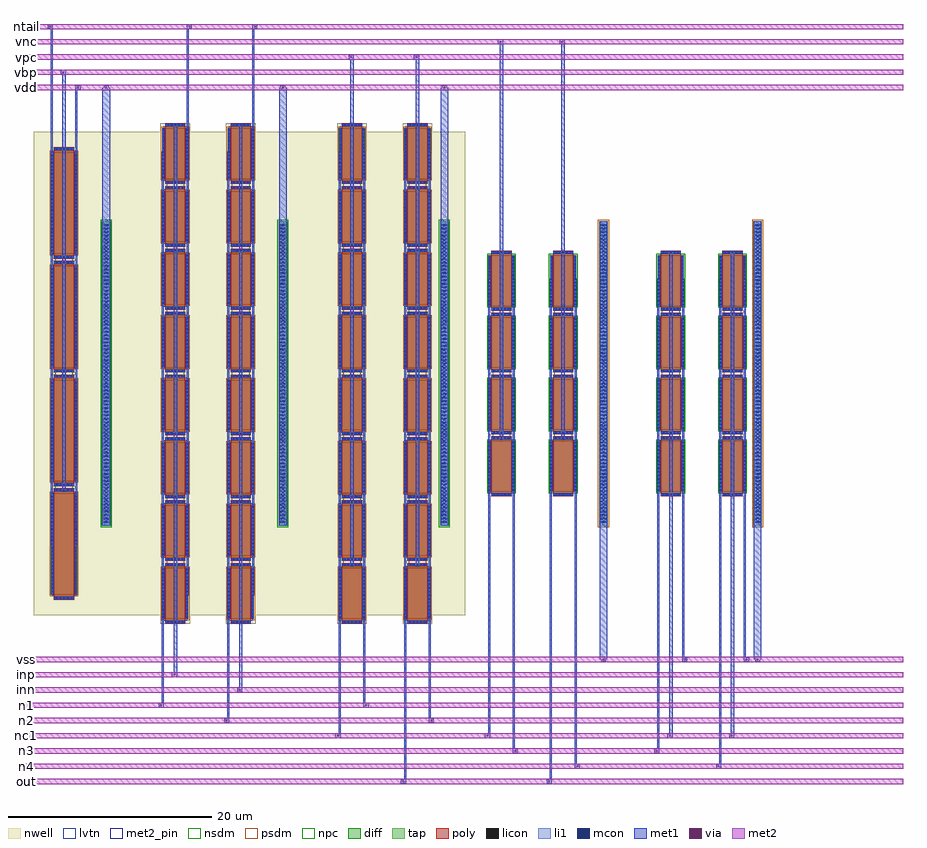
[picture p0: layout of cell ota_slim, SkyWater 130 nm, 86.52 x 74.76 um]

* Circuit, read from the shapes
.subckt ota_slim inn inp n1 n2 n3 n4 nc1 ntail out vbp vdd vnc vpc vss
XM1 n3 vnc nc1 vss sky130_fd_pr__nfet_01v8 w=5 l=2 m=4
XM2 n4 vnc out vss sky130_fd_pr__nfet_01v8 w=5 l=2 m=4
XM3 vss nc1 n3 vss sky130_fd_pr__nfet_01v8 w=5 l=2 m=4
XM4 vss nc1 n4 vss sky130_fd_pr__nfet_01v8 w=5 l=2 m=4
XM5 vdd vbp ntail vdd sky130_fd_pr__pfet_01v8 w=10 l=2 m=4
XM6 ntail inp n1 vdd sky130_fd_pr__pfet_01v8_lvt w=5 l=2 m=8
XM7 ntail inn n2 vdd sky130_fd_pr__pfet_01v8_lvt w=5 l=2 m=8
XM8 n1 vpc nc1 vdd sky130_fd_pr__pfet_01v8_lvt w=5 l=2 m=8
XM9 n2 vpc out vdd sky130_fd_pr__pfet_01v8_lvt w=5 l=2 m=8
.ends

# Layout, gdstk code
import gdstk
lib = gdstk.Library(unit=1e-6, precision=1e-09)
def R(c, l, rs):  # rectangles x0, y0, x1, y1
    for r in rs: c.add(gdstk.rectangle(r[:2], r[2:], *l))
def A(c, l, x, y, w, h, nx, ny, dx, dy):  # array of equal rectangles
    R(c, l, [(x+i*dx, y+j*dy, x+i*dx+w, y+j*dy+h) for i in range(nx) for j in range(ny)])
nwell = (64, 20)
diff = (65, 20)
tap = (65, 44)
poly = (66, 20)
licon = (66, 44)
li1 = (67, 20)
mcon = (67, 44)
met1 = (68, 20)
via = (68, 44)
met2_pin = (69, 16)
met2 = (69, 20)
nsdm = (93, 44)
psdm = (94, 20)
npc = (95, 20)
lvtn = (125, 44)

sky130_fd_pr__pfet_01v8_ = lib.new_cell('sky130_fd_pr__pfet_01v8_WWVFXU')
A(sky130_fd_pr__pfet_01v8_, nwell, -1.47, -22.27, 2.94, 11, 1, 4, 0, 11.18)
A(sky130_fd_pr__pfet_01v8_, diff, -1.29, -21.77, 2.58, 10, 1, 4, 0, 11.18)
A(sky130_fd_pr__pfet_01v8_, poly, -1, -22.255, 2, 10.97, 1, 4, 0, 11.18)
A(sky130_fd_pr__pfet_01v8_, licon, -0.765, -22.175, 0.17, 0.17, 5, 2, 0.34, 10.64)
A(sky130_fd_pr__pfet_01v8_, licon, -1.23, -21.615, 0.17, 0.17, 1, 29, 0, 0.34)
A(sky130_fd_pr__pfet_01v8_, licon, 1.06, -21.615, 0.17, 0.17, 1, 29, 0, 0.34)
A(sky130_fd_pr__pfet_01v8_, licon, -0.765, -10.995, 0.17, 0.17, 5, 2, 0.34, 10.64)
A(sky130_fd_pr__pfet_01v8_, licon, -1.23, -10.435, 0.17, 0.17, 1, 29, 0, 0.34)
A(sky130_fd_pr__pfet_01v8_, licon, 1.06, -10.435, 0.17, 0.17, 1, 29, 0, 0.34)
A(sky130_fd_pr__pfet_01v8_, licon, -0.765, 0.185, 0.17, 0.17, 5, 2, 0.34, 10.64)
A(sky130_fd_pr__pfet_01v8_, licon, -1.23, 0.745, 0.17, 0.17, 1, 29, 0, 0.34)
A(sky130_fd_pr__pfet_01v8_, licon, 1.06, 0.745, 0.17, 0.17, 1, 29, 0, 0.34)
A(sky130_fd_pr__pfet_01v8_, licon, -0.765, 11.365, 0.17, 0.17, 5, 2, 0.34, 10.64)
A(sky130_fd_pr__pfet_01v8_, licon, -1.23, 11.925, 0.17, 0.17, 1, 29, 0, 0.34)
A(sky130_fd_pr__pfet_01v8_, licon, 1.06, 11.925, 0.17, 0.17, 1, 29, 0, 0.34)
A(sky130_fd_pr__pfet_01v8_, li1, -1.23, -21.79, 0.17, 10.04, 1, 4, 0, 11.18)
A(sky130_fd_pr__pfet_01v8_, li1, 1.06, -21.79, 0.17, 10.04, 1, 4, 0, 11.18)
R(sky130_fd_pr__pfet_01v8_, li1, [(-1,-22.175,1,-22.005), (-1,-11.535,1,-11.365), (-1,-10.995,1,-10.825), (-1,-0.355,1,-0.185), (-1,0.185,1,0.355), (-1,10.825,1,10.995), (-1,11.365,1,11.535), (-1,22.005,1,22.175)])
A(sky130_fd_pr__pfet_01v8_, mcon, -0.805, -22.175, 0.17, 0.17, 5, 2, 0.36, 10.64)
A(sky130_fd_pr__pfet_01v8_, mcon, -1.23, -21.535, 0.17, 0.17, 1, 27, 0, 0.36)
A(sky130_fd_pr__pfet_01v8_, mcon, 1.06, -21.535, 0.17, 0.17, 1, 27, 0, 0.36)
A(sky130_fd_pr__pfet_01v8_, mcon, -0.805, -10.995, 0.17, 0.17, 5, 2, 0.36, 10.64)
A(sky130_fd_pr__pfet_01v8_, mcon, -1.23, -10.355, 0.17, 0.17, 1, 27, 0, 0.36)
A(sky130_fd_pr__pfet_01v8_, mcon, 1.06, -10.355, 0.17, 0.17, 1, 27, 0, 0.36)
A(sky130_fd_pr__pfet_01v8_, mcon, -0.805, 0.185, 0.17, 0.17, 5, 2, 0.36, 10.64)
A(sky130_fd_pr__pfet_01v8_, mcon, -1.23, 0.825, 0.17, 0.17, 1, 27, 0, 0.36)
A(sky130_fd_pr__pfet_01v8_, mcon, 1.06, 0.825, 0.17, 0.17, 1, 27, 0, 0.36)
A(sky130_fd_pr__pfet_01v8_, mcon, -0.805, 11.365, 0.17, 0.17, 5, 2, 0.36, 10.64)
A(sky130_fd_pr__pfet_01v8_, mcon, -1.23, 12.005, 0.17, 0.17, 1, 27, 0, 0.36)
A(sky130_fd_pr__pfet_01v8_, mcon, 1.06, 12.005, 0.17, 0.17, 1, 27, 0, 0.36)
A(sky130_fd_pr__pfet_01v8_, met1, -1.26, -21.77, 0.23, 10, 1, 4, 0, 11.18)
A(sky130_fd_pr__pfet_01v8_, met1, 1.03, -21.77, 0.23, 10, 1, 4, 0, 11.18)
R(sky130_fd_pr__pfet_01v8_, met1, [(-0.98,-22.205,0.98,-21.975), (-0.98,-11.565,0.98,-11.335), (-0.98,-11.025,0.98,-10.795), (-0.98,-0.385,0.98,-0.155), (-0.98,0.155,0.98,0.385), (-0.98,10.795,0.98,11.025), (-0.98,11.335,0.98,11.565), (-0.98,21.975,0.98,22.205)])
A(sky130_fd_pr__pfet_01v8_, psdm, -1.415, -21.895, 2.83, 10.25, 1, 4, 0, 11.18)
A(sky130_fd_pr__pfet_01v8_, npc, -0.865, -11.635, 1.73, 0.91, 1, 3, 0, 11.18)
R(sky130_fd_pr__pfet_01v8_, npc, [(-0.865,-22.275,0.865,-21.905), (-0.865,21.905,0.865,22.275)])
sky130_fd_pr__pfet_01v8_.add(gdstk.Label('D0', (-1.145,-16.77), layer=67, texttype=5))
sky130_fd_pr__pfet_01v8_.add(gdstk.Label('S0', (1.145,-16.77), layer=67, texttype=5))
sky130_fd_pr__pfet_01v8_.add(gdstk.Label('G0', (0,-11.45), layer=67, texttype=5))
sky130_fd_pr__pfet_01v8_.add(gdstk.Label('D1', (-1.145,-5.59), layer=67, texttype=5))
sky130_fd_pr__pfet_01v8_.add(gdstk.Label('S1', (1.145,-5.59), layer=67, texttype=5))
sky130_fd_pr__pfet_01v8_.add(gdstk.Label('G1', (0,-0.27), layer=67, texttype=5))
sky130_fd_pr__pfet_01v8_.add(gdstk.Label('D2', (-1.145,5.59), layer=67, texttype=5))
sky130_fd_pr__pfet_01v8_.add(gdstk.Label('S2', (1.145,5.59), layer=67, texttype=5))
sky130_fd_pr__pfet_01v8_.add(gdstk.Label('G2', (0,10.91), layer=67, texttype=5))
sky130_fd_pr__pfet_01v8_.add(gdstk.Label('D3', (-1.145,16.77), layer=67, texttype=5))
sky130_fd_pr__pfet_01v8_.add(gdstk.Label('S3', (1.145,16.77), layer=67, texttype=5))
sky130_fd_pr__pfet_01v8_.add(gdstk.Label('G3', (0,22.09), layer=67, texttype=5))

c_sky130_fd_pr__pfet_01v8_ = lib.new_cell('sky130_fd_pr__pfet_01v8_lvt_Z3Z8Z3')
A(c_sky130_fd_pr__pfet_01v8_, nwell, -1.47, -24.63, 2.94, 6, 1, 8, 0, 6.18)
A(c_sky130_fd_pr__pfet_01v8_, diff, -1.29, -24.13, 2.58, 5, 1, 8, 0, 6.18)
A(c_sky130_fd_pr__pfet_01v8_, poly, -1, -24.615, 2, 5.97, 1, 8, 0, 6.18)
A(c_sky130_fd_pr__pfet_01v8_, licon, -0.765, -24.535, 0.17, 0.17, 5, 2, 0.34, 5.64)
A(c_sky130_fd_pr__pfet_01v8_, licon, -1.23, -23.925, 0.17, 0.17, 1, 14, 0, 0.34)
A(c_sky130_fd_pr__pfet_01v8_, licon, 1.06, -23.925, 0.17, 0.17, 1, 14, 0, 0.34)
A(c_sky130_fd_pr__pfet_01v8_, licon, -0.765, -18.355, 0.17, 0.17, 5, 2, 0.34, 5.64)
A(c_sky130_fd_pr__pfet_01v8_, licon, -1.23, -17.745, 0.17, 0.17, 1, 14, 0, 0.34)
A(c_sky130_fd_pr__pfet_01v8_, licon, 1.06, -17.745, 0.17, 0.17, 1, 14, 0, 0.34)
A(c_sky130_fd_pr__pfet_01v8_, licon, -0.765, -12.175, 0.17, 0.17, 5, 2, 0.34, 5.64)
A(c_sky130_fd_pr__pfet_01v8_, licon, -1.23, -11.565, 0.17, 0.17, 1, 14, 0, 0.34)
A(c_sky130_fd_pr__pfet_01v8_, licon, 1.06, -11.565, 0.17, 0.17, 1, 14, 0, 0.34)
A(c_sky130_fd_pr__pfet_01v8_, licon, -0.765, -5.995, 0.17, 0.17, 5, 2, 0.34, 5.64)
A(c_sky130_fd_pr__pfet_01v8_, licon, -1.23, -5.385, 0.17, 0.17, 1, 14, 0, 0.34)
A(c_sky130_fd_pr__pfet_01v8_, licon, 1.06, -5.385, 0.17, 0.17, 1, 14, 0, 0.34)
A(c_sky130_fd_pr__pfet_01v8_, licon, -0.765, 0.185, 0.17, 0.17, 5, 2, 0.34, 5.64)
A(c_sky130_fd_pr__pfet_01v8_, licon, -1.23, 0.795, 0.17, 0.17, 1, 14, 0, 0.34)
A(c_sky130_fd_pr__pfet_01v8_, licon, 1.06, 0.795, 0.17, 0.17, 1, 14, 0, 0.34)
A(c_sky130_fd_pr__pfet_01v8_, licon, -0.765, 6.365, 0.17, 0.17, 5, 2, 0.34, 5.64)
A(c_sky130_fd_pr__pfet_01v8_, licon, -1.23, 6.975, 0.17, 0.17, 1, 14, 0, 0.34)
A(c_sky130_fd_pr__pfet_01v8_, licon, 1.06, 6.975, 0.17, 0.17, 1, 14, 0, 0.34)
A(c_sky130_fd_pr__pfet_01v8_, licon, -0.765, 12.545, 0.17, 0.17, 5, 2, 0.34, 5.64)
A(c_sky130_fd_pr__pfet_01v8_, licon, -1.23, 13.155, 0.17, 0.17, 1, 14, 0, 0.34)
A(c_sky130_fd_pr__pfet_01v8_, licon, 1.06, 13.155, 0.17, 0.17, 1, 14, 0, 0.34)
A(c_sky130_fd_pr__pfet_01v8_, licon, -0.765, 18.725, 0.17, 0.17, 5, 2, 0.34, 5.64)
A(c_sky130_fd_pr__pfet_01v8_, licon, -1.23, 19.335, 0.17, 0.17, 1, 14, 0, 0.34)
A(c_sky130_fd_pr__pfet_01v8_, licon, 1.06, 19.335, 0.17, 0.17, 1, 14, 0, 0.34)
A(c_sky130_fd_pr__pfet_01v8_, li1, -1.23, -24.15, 0.17, 5.04, 1, 8, 0, 6.18)
A(c_sky130_fd_pr__pfet_01v8_, li1, 1.06, -24.15, 0.17, 5.04, 1, 8, 0, 6.18)
R(c_sky130_fd_pr__pfet_01v8_, li1, [(-1,-24.535,1,-24.365), (-1,-18.895,1,-18.725), (-1,-18.355,1,-18.185), (-1,-12.715,1,-12.545), (-1,-12.175,1,-12.005), (-1,-6.535,1,-6.365), (-1,-5.995,1,-5.825), (-1,-0.355,1,-0.185), (-1,0.185,1,0.355), (-1,5.825,1,5.995), (-1,6.365,1,6.535), (-1,12.005,1,12.175), (-1,12.545,1,12.715), (-1,18.185,1,18.355), (-1,18.725,1,18.895), (-1,24.365,1,24.535)])
A(c_sky130_fd_pr__pfet_01v8_, mcon, -0.805, -24.535, 0.17, 0.17, 5, 2, 0.36, 5.64)
A(c_sky130_fd_pr__pfet_01v8_, mcon, -1.23, -24.055, 0.17, 0.17, 1, 14, 0, 0.36)
A(c_sky130_fd_pr__pfet_01v8_, mcon, 1.06, -24.055, 0.17, 0.17, 1, 14, 0, 0.36)
A(c_sky130_fd_pr__pfet_01v8_, mcon, -0.805, -18.355, 0.17, 0.17, 5, 2, 0.36, 5.64)
A(c_sky130_fd_pr__pfet_01v8_, mcon, -1.23, -17.875, 0.17, 0.17, 1, 14, 0, 0.36)
A(c_sky130_fd_pr__pfet_01v8_, mcon, 1.06, -17.875, 0.17, 0.17, 1, 14, 0, 0.36)
A(c_sky130_fd_pr__pfet_01v8_, mcon, -0.805, -12.175, 0.17, 0.17, 5, 2, 0.36, 5.64)
A(c_sky130_fd_pr__pfet_01v8_, mcon, -1.23, -11.695, 0.17, 0.17, 1, 14, 0, 0.36)
A(c_sky130_fd_pr__pfet_01v8_, mcon, 1.06, -11.695, 0.17, 0.17, 1, 14, 0, 0.36)
A(c_sky130_fd_pr__pfet_01v8_, mcon, -0.805, -5.995, 0.17, 0.17, 5, 2, 0.36, 5.64)
A(c_sky130_fd_pr__pfet_01v8_, mcon, -1.23, -5.515, 0.17, 0.17, 1, 14, 0, 0.36)
A(c_sky130_fd_pr__pfet_01v8_, mcon, 1.06, -5.515, 0.17, 0.17, 1, 14, 0, 0.36)
A(c_sky130_fd_pr__pfet_01v8_, mcon, -0.805, 0.185, 0.17, 0.17, 5, 2, 0.36, 5.64)
A(c_sky130_fd_pr__pfet_01v8_, mcon, -1.23, 0.665, 0.17, 0.17, 1, 14, 0, 0.36)
A(c_sky130_fd_pr__pfet_01v8_, mcon, 1.06, 0.665, 0.17, 0.17, 1, 14, 0, 0.36)
A(c_sky130_fd_pr__pfet_01v8_, mcon, -0.805, 6.365, 0.17, 0.17, 5, 2, 0.36, 5.64)
A(c_sky130_fd_pr__pfet_01v8_, mcon, -1.23, 6.845, 0.17, 0.17, 1, 14, 0, 0.36)
A(c_sky130_fd_pr__pfet_01v8_, mcon, 1.06, 6.845, 0.17, 0.17, 1, 14, 0, 0.36)
A(c_sky130_fd_pr__pfet_01v8_, mcon, -0.805, 12.545, 0.17, 0.17, 5, 2, 0.36, 5.64)
A(c_sky130_fd_pr__pfet_01v8_, mcon, -1.23, 13.025, 0.17, 0.17, 1, 14, 0, 0.36)
A(c_sky130_fd_pr__pfet_01v8_, mcon, 1.06, 13.025, 0.17, 0.17, 1, 14, 0, 0.36)
A(c_sky130_fd_pr__pfet_01v8_, mcon, -0.805, 18.725, 0.17, 0.17, 5, 2, 0.36, 5.64)
A(c_sky130_fd_pr__pfet_01v8_, mcon, -1.23, 19.205, 0.17, 0.17, 1, 14, 0, 0.36)
A(c_sky130_fd_pr__pfet_01v8_, mcon, 1.06, 19.205, 0.17, 0.17, 1, 14, 0, 0.36)
A(c_sky130_fd_pr__pfet_01v8_, met1, -1.26, -24.13, 0.23, 5, 1, 8, 0, 6.18)
A(c_sky130_fd_pr__pfet_01v8_, met1, 1.03, -24.13, 0.23, 5, 1, 8, 0, 6.18)
R(c_sky130_fd_pr__pfet_01v8_, met1, [(-0.98,-24.565,0.98,-24.335), (-0.98,-18.925,0.98,-18.695), (-0.98,-18.385,0.98,-18.155), (-0.98,-12.745,0.98,-12.515), (-0.98,-12.205,0.98,-11.975), (-0.98,-6.565,0.98,-6.335), (-0.98,-6.025,0.98,-5.795), (-0.98,-0.385,0.98,-0.155), (-0.98,0.155,0.98,0.385), (-0.98,5.795,0.98,6.025), (-0.98,6.335,0.98,6.565), (-0.98,11.975,0.98,12.205), (-0.98,12.515,0.98,12.745), (-0.98,18.155,0.98,18.385), (-0.98,18.695,0.98,18.925), (-0.98,24.335,0.98,24.565)])
A(c_sky130_fd_pr__pfet_01v8_, psdm, -1.415, -24.255, 2.83, 5.25, 1, 8, 0, 6.18)
A(c_sky130_fd_pr__pfet_01v8_, npc, -0.865, -18.995, 1.73, 0.91, 1, 7, 0, 6.18)
R(c_sky130_fd_pr__pfet_01v8_, npc, [(-0.865,-24.635,0.865,-24.265), (-0.865,24.265,0.865,24.635)])
A(c_sky130_fd_pr__pfet_01v8_, lvtn, -1.18, -24.31, 2.36, 5.36, 1, 8, 0, 6.18)
c_sky130_fd_pr__pfet_01v8_.add(gdstk.Label('D0', (-1.145,-21.63), layer=67, texttype=5))
c_sky130_fd_pr__pfet_01v8_.add(gdstk.Label('S0', (1.145,-21.63), layer=67, texttype=5))
c_sky130_fd_pr__pfet_01v8_.add(gdstk.Label('G0', (0,-18.81), layer=67, texttype=5))
c_sky130_fd_pr__pfet_01v8_.add(gdstk.Label('D1', (-1.145,-15.45), layer=67, texttype=5))
c_sky130_fd_pr__pfet_01v8_.add(gdstk.Label('S1', (1.145,-15.45), layer=67, texttype=5))
c_sky130_fd_pr__pfet_01v8_.add(gdstk.Label('G1', (0,-12.63), layer=67, texttype=5))
c_sky130_fd_pr__pfet_01v8_.add(gdstk.Label('D2', (-1.145,-9.27), layer=67, texttype=5))
c_sky130_fd_pr__pfet_01v8_.add(gdstk.Label('S2', (1.145,-9.27), layer=67, texttype=5))
c_sky130_fd_pr__pfet_01v8_.add(gdstk.Label('G2', (0,-6.45), layer=67, texttype=5))
c_sky130_fd_pr__pfet_01v8_.add(gdstk.Label('D3', (-1.145,-3.09), layer=67, texttype=5))
c_sky130_fd_pr__pfet_01v8_.add(gdstk.Label('S3', (1.145,-3.09), layer=67, texttype=5))
c_sky130_fd_pr__pfet_01v8_.add(gdstk.Label('G3', (0,-0.27), layer=67, texttype=5))
c_sky130_fd_pr__pfet_01v8_.add(gdstk.Label('D4', (-1.145,3.09), layer=67, texttype=5))
c_sky130_fd_pr__pfet_01v8_.add(gdstk.Label('S4', (1.145,3.09), layer=67, texttype=5))
c_sky130_fd_pr__pfet_01v8_.add(gdstk.Label('G4', (0,5.91), layer=67, texttype=5))
c_sky130_fd_pr__pfet_01v8_.add(gdstk.Label('D5', (-1.145,9.27), layer=67, texttype=5))
c_sky130_fd_pr__pfet_01v8_.add(gdstk.Label('S5', (1.145,9.27), layer=67, texttype=5))
c_sky130_fd_pr__pfet_01v8_.add(gdstk.Label('G5', (0,12.09), layer=67, texttype=5))
c_sky130_fd_pr__pfet_01v8_.add(gdstk.Label('D6', (-1.145,15.45), layer=67, texttype=5))
c_sky130_fd_pr__pfet_01v8_.add(gdstk.Label('S6', (1.145,15.45), layer=67, texttype=5))
c_sky130_fd_pr__pfet_01v8_.add(gdstk.Label('G6', (0,18.27), layer=67, texttype=5))
c_sky130_fd_pr__pfet_01v8_.add(gdstk.Label('D7', (-1.145,21.63), layer=67, texttype=5))
c_sky130_fd_pr__pfet_01v8_.add(gdstk.Label('S7', (1.145,21.63), layer=67, texttype=5))
c_sky130_fd_pr__pfet_01v8_.add(gdstk.Label('G7', (0,24.45), layer=67, texttype=5))

sky130_fd_pr__nfet_01v8_ = lib.new_cell('sky130_fd_pr__nfet_01v8_NRZ4Y2')
A(sky130_fd_pr__nfet_01v8_, diff, -1.29, -11.635, 2.58, 5, 1, 4, 0, 6.09)
A(sky130_fd_pr__nfet_01v8_, poly, -1, -12.075, 2, 5.88, 1, 4, 0, 6.09)
A(sky130_fd_pr__nfet_01v8_, licon, -0.765, -11.995, 0.17, 0.17, 5, 2, 0.34, 5.55)
A(sky130_fd_pr__nfet_01v8_, licon, -1.23, -11.43, 0.17, 0.17, 1, 14, 0, 0.34)
A(sky130_fd_pr__nfet_01v8_, licon, 1.06, -11.43, 0.17, 0.17, 1, 14, 0, 0.34)
A(sky130_fd_pr__nfet_01v8_, licon, -0.765, -5.905, 0.17, 0.17, 5, 2, 0.34, 5.55)
A(sky130_fd_pr__nfet_01v8_, licon, -1.23, -5.34, 0.17, 0.17, 1, 14, 0, 0.34)
A(sky130_fd_pr__nfet_01v8_, licon, 1.06, -5.34, 0.17, 0.17, 1, 14, 0, 0.34)
A(sky130_fd_pr__nfet_01v8_, licon, -0.765, 0.185, 0.17, 0.17, 5, 2, 0.34, 5.55)
A(sky130_fd_pr__nfet_01v8_, licon, -1.23, 0.75, 0.17, 0.17, 1, 14, 0, 0.34)
A(sky130_fd_pr__nfet_01v8_, licon, 1.06, 0.75, 0.17, 0.17, 1, 14, 0, 0.34)
A(sky130_fd_pr__nfet_01v8_, licon, -0.765, 6.275, 0.17, 0.17, 5, 2, 0.34, 5.55)
A(sky130_fd_pr__nfet_01v8_, licon, -1.23, 6.84, 0.17, 0.17, 1, 14, 0, 0.34)
A(sky130_fd_pr__nfet_01v8_, licon, 1.06, 6.84, 0.17, 0.17, 1, 14, 0, 0.34)
A(sky130_fd_pr__nfet_01v8_, li1, -1.23, -11.655, 0.17, 5.04, 1, 4, 0, 6.09)
A(sky130_fd_pr__nfet_01v8_, li1, 1.06, -11.655, 0.17, 5.04, 1, 4, 0, 6.09)
R(sky130_fd_pr__nfet_01v8_, li1, [(-1,-11.995,1,-11.825), (-1,-6.445,1,-6.275), (-1,-5.905,1,-5.735), (-1,-0.355,1,-0.185), (-1,0.185,1,0.355), (-1,5.735,1,5.905), (-1,6.275,1,6.445), (-1,11.825,1,11.995)])
A(sky130_fd_pr__nfet_01v8_, mcon, -0.805, -11.995, 0.17, 0.17, 5, 2, 0.36, 5.55)
A(sky130_fd_pr__nfet_01v8_, mcon, -1.23, -11.56, 0.17, 0.17, 1, 14, 0, 0.36)
A(sky130_fd_pr__nfet_01v8_, mcon, 1.06, -11.56, 0.17, 0.17, 1, 14, 0, 0.36)
A(sky130_fd_pr__nfet_01v8_, mcon, -0.805, -5.905, 0.17, 0.17, 5, 2, 0.36, 5.55)
A(sky130_fd_pr__nfet_01v8_, mcon, -1.23, -5.47, 0.17, 0.17, 1, 14, 0, 0.36)
A(sky130_fd_pr__nfet_01v8_, mcon, 1.06, -5.47, 0.17, 0.17, 1, 14, 0, 0.36)
A(sky130_fd_pr__nfet_01v8_, mcon, -0.805, 0.185, 0.17, 0.17, 5, 2, 0.36, 5.55)
A(sky130_fd_pr__nfet_01v8_, mcon, -1.23, 0.62, 0.17, 0.17, 1, 14, 0, 0.36)
A(sky130_fd_pr__nfet_01v8_, mcon, 1.06, 0.62, 0.17, 0.17, 1, 14, 0, 0.36)
A(sky130_fd_pr__nfet_01v8_, mcon, -0.805, 6.275, 0.17, 0.17, 5, 2, 0.36, 5.55)
A(sky130_fd_pr__nfet_01v8_, mcon, -1.23, 6.71, 0.17, 0.17, 1, 14, 0, 0.36)
A(sky130_fd_pr__nfet_01v8_, mcon, 1.06, 6.71, 0.17, 0.17, 1, 14, 0, 0.36)
A(sky130_fd_pr__nfet_01v8_, met1, -1.26, -11.635, 0.23, 5, 1, 4, 0, 6.09)
A(sky130_fd_pr__nfet_01v8_, met1, 1.03, -11.635, 0.23, 5, 1, 4, 0, 6.09)
R(sky130_fd_pr__nfet_01v8_, met1, [(-0.98,-12.025,0.98,-11.795), (-0.98,-6.475,0.98,-6.245), (-0.98,-5.935,0.98,-5.705), (-0.98,-0.385,0.98,-0.155), (-0.98,0.155,0.98,0.385), (-0.98,5.705,0.98,5.935), (-0.98,6.245,0.98,6.475), (-0.98,11.795,0.98,12.025)])
A(sky130_fd_pr__nfet_01v8_, nsdm, -1.415, -11.76, 2.83, 5.25, 1, 4, 0, 6.09)
A(sky130_fd_pr__nfet_01v8_, npc, -0.865, -6.545, 1.73, 0.91, 1, 3, 0, 6.09)
R(sky130_fd_pr__nfet_01v8_, npc, [(-0.865,-12.095,0.865,-11.725), (-0.865,11.725,0.865,12.095)])
sky130_fd_pr__nfet_01v8_.add(gdstk.Label('D0', (-1.145,-9.135), layer=67, texttype=5))
sky130_fd_pr__nfet_01v8_.add(gdstk.Label('S0', (1.145,-9.135), layer=67, texttype=5))
sky130_fd_pr__nfet_01v8_.add(gdstk.Label('G0', (0,-6.36), layer=67, texttype=5))
sky130_fd_pr__nfet_01v8_.add(gdstk.Label('D1', (-1.145,-3.045), layer=67, texttype=5))
sky130_fd_pr__nfet_01v8_.add(gdstk.Label('S1', (1.145,-3.045), layer=67, texttype=5))
sky130_fd_pr__nfet_01v8_.add(gdstk.Label('G1', (0,-0.27), layer=67, texttype=5))
sky130_fd_pr__nfet_01v8_.add(gdstk.Label('D2', (-1.145,3.045), layer=67, texttype=5))
sky130_fd_pr__nfet_01v8_.add(gdstk.Label('S2', (1.145,3.045), layer=67, texttype=5))
sky130_fd_pr__nfet_01v8_.add(gdstk.Label('G2', (0,5.82), layer=67, texttype=5))
sky130_fd_pr__nfet_01v8_.add(gdstk.Label('D3', (-1.145,9.135), layer=67, texttype=5))
sky130_fd_pr__nfet_01v8_.add(gdstk.Label('S3', (1.145,9.135), layer=67, texttype=5))
sky130_fd_pr__nfet_01v8_.add(gdstk.Label('G3', (0,11.91), layer=67, texttype=5))

ota_slim = lib.new_cell('ota_slim')
R(ota_slim, nwell, [(3.5,-23.77,45.95,23.77)])
R(ota_slim, tap, [(10.19,-15,11.04,15), (27.57,-15,28.42,15), (43.45,-15,44.3,15), (59.11,-15,59.96,15), (74.27,-15,75.12,15)])
A(ota_slim, licon, 10.36, -14.705, 0.17, 0.17, 1, 87, 0, 0.34)
A(ota_slim, licon, 10.7, -14.705, 0.17, 0.17, 1, 87, 0, 0.34)
A(ota_slim, licon, 27.74, -14.705, 0.17, 0.17, 1, 87, 0, 0.34)
A(ota_slim, licon, 28.08, -14.705, 0.17, 0.17, 1, 87, 0, 0.34)
A(ota_slim, licon, 43.62, -14.705, 0.17, 0.17, 1, 87, 0, 0.34)
A(ota_slim, licon, 43.96, -14.705, 0.17, 0.17, 1, 87, 0, 0.34)
A(ota_slim, licon, 59.28, -14.705, 0.17, 0.17, 1, 87, 0, 0.34)
A(ota_slim, licon, 59.62, -14.705, 0.17, 0.17, 1, 87, 0, 0.34)
A(ota_slim, licon, 74.44, -14.705, 0.17, 0.17, 1, 87, 0, 0.34)
A(ota_slim, licon, 74.78, -14.705, 0.17, 0.17, 1, 87, 0, 0.34)
R(ota_slim, li1, [(10.24,-15,10.99,15), (27.62,-15,28.37,15), (43.5,-15,44.25,15), (59.16,-15,59.91,15), (74.32,-15,75.07,15)])
A(ota_slim, mcon, 10.53, -14.665, 0.17, 0.17, 1, 82, 0, 0.36)
A(ota_slim, mcon, 27.91, -14.665, 0.17, 0.17, 1, 82, 0, 0.36)
A(ota_slim, mcon, 43.79, -14.665, 0.17, 0.17, 1, 82, 0, 0.36)
A(ota_slim, mcon, 59.45, -14.665, 0.17, 0.17, 1, 82, 0, 0.36)
A(ota_slim, mcon, 74.61, -14.665, 0.17, 0.17, 1, 82, 0, 0.36)
R(ota_slim, met1, [(39.6,-40.37,40.08,-40.3), (53.94,-40.37,54.42,-40.3), (39.6,-40.3,40.11,-39.89), (53.94,-40.3,54.45,-39.89), (39.915,-39.89,40.11,21.8), (54.255,-39.89,54.45,9.305), (56.715,-38.87,57.195,-38.8), (70.6,-38.87,71.08,-38.8), (56.69,-38.8,57.195,-38.39), (70.6,-38.8,71.11,-38.39), (56.69,-38.39,56.885,9.305), (70.915,-38.39,71.11,9.305), (50.635,-37.37,51.115,-37.3), (64.52,-37.37,65,-37.3), (50.61,-37.3,51.115,-36.89), (64.52,-37.3,65.03,-36.89), (50.61,-36.89,50.805,9.305), (64.835,-36.89,65.03,9.305), (33.16,-35.87,33.64,-35.8), (47.86,-35.87,48.34,-35.8), (65.81,-35.87,66.29,-35.8), (71.89,-35.87,72.37,-35.8), (33.16,-35.8,33.67,-35.39), (47.86,-35.8,48.37,-35.39), (65.81,-35.8,66.32,-35.39), (71.89,-35.8,72.4,-35.39), (33.475,-35.39,33.67,21.8), (48.175,-35.39,48.37,9.305), (65.98,-35.39,66.32,12.08), (72.06,-35.39,72.4,12.08), (22.22,-34.37,22.7,-34.3), (42.375,-34.37,42.855,-34.3), (22.22,-34.3,22.73,-33.89), (42.35,-34.3,42.855,-33.89), (22.535,-33.89,22.73,21.8), (42.35,-33.89,42.545,21.8), (15.78,-32.87,16.26,-32.8), (35.935,-32.87,36.415,-32.8), (15.78,-32.8,16.29,-32.39), (35.91,-32.8,36.415,-32.39), (16.095,-32.39,16.29,21.8), (35.91,-32.39,36.105,21.8), (23.51,-31.37,23.99,-31.3), (23.51,-31.3,24.02,-30.89), (23.68,-30.89,24.02,24.62), (17.07,-29.87,17.55,-29.8), (17.07,-29.8,17.58,-29.39), (17.24,-29.39,17.58,24.62), (59.295,-28.37,59.775,-28.13), (67.295,-28.37,67.775,-28.3), (73.375,-28.37,73.855,-28.3), (74.455,-28.37,74.935,-28.13), (67.27,-28.3,67.775,-27.89), (73.35,-28.3,73.855,-27.89), (59.16,-28.13,59.91,15), (74.32,-28.13,75.07,15), (67.27,-27.89,67.465,9.305), (73.35,-27.89,73.545,9.305), (18.53,-21.8,18.725,33.89), (24.97,-21.8,25.165,33.89), (34.62,-18.98,34.96,30.89), (41.06,-18.98,41.4,30.89), (5.155,-16.94,5.35,33.89), (7.59,-16.94,7.785,27.89), (10.24,-15,10.99,28.13), (27.62,-15,28.37,28.13), (43.5,-15,44.25,28.13), (6.3,-11.62,6.64,29.39), (49.32,-6.53,49.66,32.39), (55.4,-6.53,55.74,32.39), (7.59,27.89,8.095,28.3), (10.375,28.13,10.855,28.37), (27.755,28.13,28.235,28.37), (43.635,28.13,44.115,28.37), (7.615,28.3,8.095,28.37), (6.13,29.39,6.64,29.8), (6.13,29.8,6.61,29.87), (34.45,30.89,34.96,31.3), (40.89,30.89,41.4,31.3), (34.45,31.3,34.93,31.37), (40.89,31.3,41.37,31.37), (49.15,32.39,49.66,32.8), (55.23,32.39,55.74,32.8), (49.15,32.8,49.63,32.87), (55.23,32.8,55.71,32.87), (4.84,33.89,5.35,34.3), (18.53,33.89,19.035,34.3), (24.97,33.89,25.475,34.3), (4.84,34.3,5.32,34.37), (18.555,34.3,19.035,34.37), (24.995,34.3,25.475,34.37)])
R(ota_slim, via, [(39.765,-40.205,39.915,-40.055), (54.105,-40.205,54.255,-40.055), (56.88,-38.705,57.03,-38.555), (70.765,-38.705,70.915,-38.555), (50.8,-37.205,50.95,-37.055), (64.685,-37.205,64.835,-37.055), (33.325,-35.705,33.475,-35.555), (48.025,-35.705,48.175,-35.555), (65.975,-35.705,66.125,-35.555), (72.055,-35.705,72.205,-35.555), (22.385,-34.205,22.535,-34.055), (42.54,-34.205,42.69,-34.055), (15.945,-32.705,16.095,-32.555), (36.1,-32.705,36.25,-32.555), (23.675,-31.205,23.825,-31.055), (17.235,-29.705,17.385,-29.555), (59.46,-28.205,59.61,-28.055), (67.46,-28.205,67.61,-28.055), (73.54,-28.205,73.69,-28.055), (74.62,-28.205,74.77,-28.055), (7.78,28.055,7.93,28.205), (10.54,28.055,10.69,28.205), (27.92,28.055,28.07,28.205), (43.8,28.055,43.95,28.205), (6.295,29.555,6.445,29.705), (34.615,31.055,34.765,31.205), (41.055,31.055,41.205,31.205), (49.315,32.555,49.465,32.705), (55.395,32.555,55.545,32.705), (5.005,34.055,5.155,34.205), (18.72,34.055,18.87,34.205), (25.16,34.055,25.31,34.205)])
A(ota_slim, met2_pin, 2.5, -40.38, 0.5, 0.5, 1, 9, 0, 1.5)
A(ota_slim, met2_pin, 2.5, 27.88, 0.5, 0.5, 1, 5, 0, 1.5)
A(ota_slim, met2, 2.5, -40.38, 86.52, 0.5, 1, 9, 0, 1.5)
A(ota_slim, met2, 2.5, 27.88, 86.52, 0.5, 1, 5, 0, 1.5)
R(ota_slim, nsdm, [(10.065,-15.125,11.165,15.125), (27.445,-15.125,28.545,15.125), (43.325,-15.125,44.425,15.125)])
R(ota_slim, psdm, [(58.985,-15.125,60.085,15.125), (74.145,-15.125,75.245,15.125)])
ota_slim.add(gdstk.Reference(sky130_fd_pr__pfet_01v8_, (6.47,0)))
ota_slim.add(gdstk.Reference(c_sky130_fd_pr__pfet_01v8_, (41.23,0)))
ota_slim.add(gdstk.Reference(c_sky130_fd_pr__pfet_01v8_, (34.79,0)))
ota_slim.add(gdstk.Reference(c_sky130_fd_pr__pfet_01v8_, (23.85,0)))
ota_slim.add(gdstk.Reference(c_sky130_fd_pr__pfet_01v8_, (17.41,0)))
ota_slim.add(gdstk.Reference(sky130_fd_pr__nfet_01v8_, (72.23,0)))
ota_slim.add(gdstk.Reference(sky130_fd_pr__nfet_01v8_, (66.15,0)))
ota_slim.add(gdstk.Reference(sky130_fd_pr__nfet_01v8_, (55.57,0)))
ota_slim.add(gdstk.Reference(sky130_fd_pr__nfet_01v8_, (49.49,0)))
ota_slim.add(gdstk.Label('vdd', (2.75,28.13), layer=69, texttype=5))
ota_slim.add(gdstk.Label('vbp', (2.75,29.63), layer=69, texttype=5))
ota_slim.add(gdstk.Label('vpc', (2.75,31.13), layer=69, texttype=5))
ota_slim.add(gdstk.Label('vnc', (2.75,32.63), layer=69, texttype=5))
ota_slim.add(gdstk.Label('ntail', (2.75,34.13), layer=69, texttype=5))
ota_slim.add(gdstk.Label('vss', (2.75,-28.13), layer=69, texttype=5))
ota_slim.add(gdstk.Label('inp', (2.75,-29.63), layer=69, texttype=5))
ota_slim.add(gdstk.Label('inn', (2.75,-31.13), layer=69, texttype=5))
ota_slim.add(gdstk.Label('n1', (2.75,-32.63), layer=69, texttype=5))
ota_slim.add(gdstk.Label('n2', (2.75,-34.13), layer=69, texttype=5))
ota_slim.add(gdstk.Label('nc1', (2.75,-35.63), layer=69, texttype=5))
ota_slim.add(gdstk.Label('n3', (2.75,-37.13), layer=69, texttype=5))
ota_slim.add(gdstk.Label('n4', (2.75,-38.63), layer=69, texttype=5))
ota_slim.add(gdstk.Label('out', (2.75,-40.13), layer=69, texttype=5))

lib.write_gds('ota_slim.gds')
